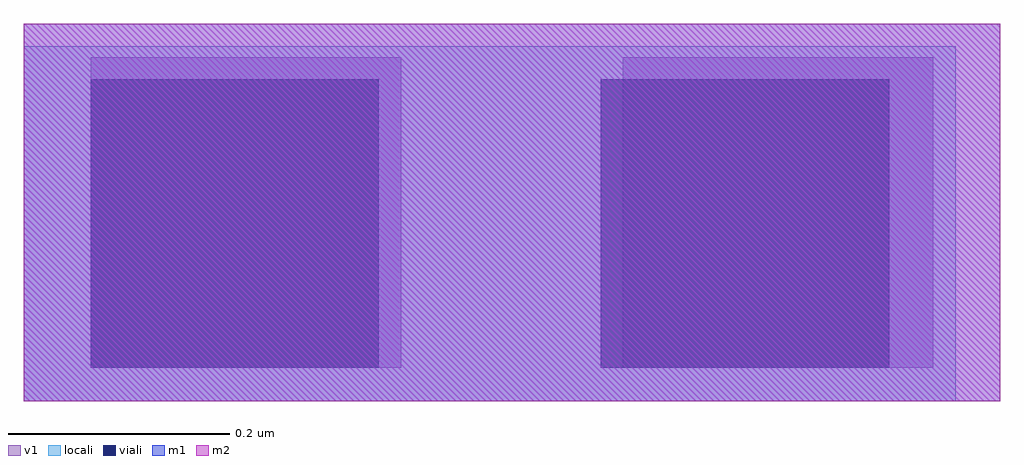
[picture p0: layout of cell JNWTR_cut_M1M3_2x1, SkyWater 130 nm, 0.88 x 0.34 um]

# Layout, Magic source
magic
tech sky130A
magscale 1 1
<< locali >>
rect 0 0 84 32
<< viali >>
rect 6 3 32 29
rect 52 3 78 29
<< m1 >>
rect 0 0 88 34
<< v1 >>
rect 6 3 34 31
rect 54 3 82 31
<< m2 >>
rect 0 0 88 34
<< labels >>
<< properties >>
string FIXED_BBOX 0 0 88 34
<< end >>
